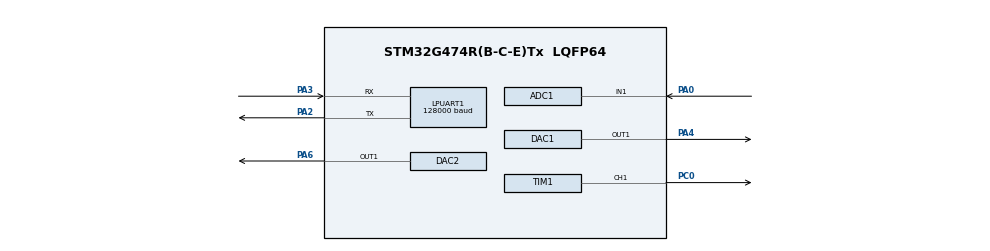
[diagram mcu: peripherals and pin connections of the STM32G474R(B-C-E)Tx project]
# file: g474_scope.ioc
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ADC1.Channel-1\#ChannelRegularConversion=ADC_CHANNEL_1
ADC1.ClockPrescaler=ADC_CLOCK_ASYNC_DIV2
ADC1.ContinuousConvMode=ENABLE
ADC1.DMAContinuousRequests=ENABLE
ADC1.EOCSelection=ADC_EOC_SEQ_CONV
ADC1.EnableRegularConversion=ENABLE
ADC1.NbrOfConversionFlag=1
ADC1.OffsetNumber-1\#ChannelRegularConversion=ADC_OFFSET_NONE
ADC1.Overrun=ADC_OVR_DATA_OVERWRITTEN
ADC1.OversamplingMode=DISABLE
ADC1.Rank-1\#ChannelRegularConversion=1
ADC1.SamplingTime-1\#ChannelRegularConversion=ADC_SAMPLETIME_24CYCLES_5
ADC1.master=1
ADC3.Channel-0\#ChannelRegularConversion=ADC_CHANNEL_VREFINT
ADC3.ClockPrescaler=ADC_CLOCK_ASYNC_DIV2
ADC3.NbrOfConversionFlag=1
ADC3.OffsetNumber-0\#ChannelRegularConversion=ADC_OFFSET_NONE
ADC3.Rank-0\#ChannelRegularConversion=1
ADC3.SamplingTime-0\#ChannelRegularConversion=ADC_SAMPLETIME_640CYCLES_5
ADC3.master=1
DAC1.DAC_HighFrequency_OUT1-DAC_OUT1=DAC_HIGH_FREQUENCY_INTERFACE_MODE_DISABLE
DAC1.DAC_OutputBuffer-DAC_OUT1=DAC_OUTPUTBUFFER_ENABLE
DAC1.DAC_Trigger_OUT1-DAC_OUT1=DAC_TRIGGER_T6_TRGO
DAC1.DAC_UserTrimming-DAC_OUT1=DAC_TRIMMING_FACTORY
DAC2.DAC_Trigger_OUT1-DAC_OUT1=DAC_TRIGGER_T7_TRGO
Dma.ADC1.0.Direction=DMA_PERIPH_TO_MEMORY
Dma.ADC1.0.EventEnable=DISABLE
Dma.ADC1.0.Instance=DMA1_Channel2
Dma.ADC1.0.MemDataAlignment=DMA_MDATAALIGN_HALFWORD
Dma.ADC1.0.MemInc=DMA_MINC_ENABLE
Dma.ADC1.0.Mode=DMA_CIRCULAR
Dma.ADC1.0.PeriphDataAlignment=DMA_PDATAALIGN_HALFWORD
Dma.ADC1.0.PeriphInc=DMA_PINC_DISABLE
Dma.ADC1.0.Polarity=HAL_DMAMUX_REQ_GEN_RISING
Dma.ADC1.0.Priority=DMA_PRIORITY_LOW
Dma.ADC1.0.RequestNumber=1
Dma.ADC1.0.SignalID=NONE
Dma.ADC1.0.SyncEnable=DISABLE
Dma.ADC1.0.SyncPolarity=HAL_DMAMUX_SYNC_NO_EVENT
Dma.ADC1.0.SyncRequestNumber=1
Dma.ADC1.0.SyncSignalID=NONE
Dma.DAC1_CH1.2.Direction=DMA_MEMORY_TO_PERIPH
Dma.DAC1_CH1.2.EventEnable=DISABLE
Dma.DAC1_CH1.2.Instance=DMA1_Channel3
Dma.DAC1_CH1.2.MemDataAlignment=DMA_MDATAALIGN_HALFWORD
Dma.DAC1_CH1.2.MemInc=DMA_MINC_ENABLE
Dma.DAC1_CH1.2.Mode=DMA_CIRCULAR
Dma.DAC1_CH1.2.PeriphDataAlignment=DMA_PDATAALIGN_WORD
Dma.DAC1_CH1.2.PeriphInc=DMA_PINC_DISABLE
Dma.DAC1_CH1.2.Polarity=HAL_DMAMUX_REQ_GEN_RISING
Dma.DAC1_CH1.2.Priority=DMA_PRIORITY_LOW
Dma.DAC1_CH1.2.RequestNumber=1
Dma.DAC1_CH1.2.SignalID=NONE
Dma.DAC1_CH1.2.SyncEnable=DISABLE
Dma.DAC1_CH1.2.SyncPolarity=HAL_DMAMUX_SYNC_NO_EVENT
Dma.DAC1_CH1.2.SyncRequestNumber=1
Dma.DAC1_CH1.2.SyncSignalID=NONE
Dma.DAC2_CH1.3.Direction=DMA_MEMORY_TO_PERIPH
Dma.DAC2_CH1.3.EventEnable=DISABLE
Dma.DAC2_CH1.3.Instance=DMA1_Channel4
Dma.DAC2_CH1.3.MemDataAlignment=DMA_MDATAALIGN_HALFWORD
Dma.DAC2_CH1.3.MemInc=DMA_MINC_ENABLE
Dma.DAC2_CH1.3.Mode=DMA_CIRCULAR
Dma.DAC2_CH1.3.PeriphDataAlignment=DMA_PDATAALIGN_WORD
Dma.DAC2_CH1.3.PeriphInc=DMA_PINC_DISABLE
Dma.DAC2_CH1.3.Polarity=HAL_DMAMUX_REQ_GEN_RISING
Dma.DAC2_CH1.3.Priority=DMA_PRIORITY_LOW
Dma.DAC2_CH1.3.RequestNumber=1
Dma.DAC2_CH1.3.SignalID=NONE
Dma.DAC2_CH1.3.SyncEnable=DISABLE
Dma.DAC2_CH1.3.SyncPolarity=HAL_DMAMUX_SYNC_NO_EVENT
Dma.DAC2_CH1.3.SyncRequestNumber=1
Dma.DAC2_CH1.3.SyncSignalID=NONE
Dma.LPUART1_RX.4.Direction=DMA_PERIPH_TO_MEMORY
Dma.LPUART1_RX.4.EventEnable=DISABLE
Dma.LPUART1_RX.4.Instance=DMA1_Channel5
Dma.LPUART1_RX.4.MemDataAlignment=DMA_MDATAALIGN_BYTE
Dma.LPUART1_RX.4.MemInc=DMA_MINC_ENABLE
Dma.LPUART1_RX.4.Mode=DMA_NORMAL
Dma.LPUART1_RX.4.PeriphDataAlignment=DMA_PDATAALIGN_BYTE
Dma.LPUART1_RX.4.PeriphInc=DMA_PINC_DISABLE
Dma.LPUART1_RX.4.Polarity=HAL_DMAMUX_REQ_GEN_RISING
Dma.LPUART1_RX.4.Priority=DMA_PRIORITY_LOW
Dma.LPUART1_RX.4.RequestNumber=1
Dma.LPUART1_RX.4.SignalID=NONE
Dma.LPUART1_RX.4.SyncEnable=DISABLE
Dma.LPUART1_RX.4.SyncPolarity=HAL_DMAMUX_SYNC_NO_EVENT
Dma.LPUART1_RX.4.SyncRequestNumber=1
Dma.LPUART1_RX.4.SyncSignalID=NONE
Dma.LPUART1_TX.1.Direction=DMA_MEMORY_TO_PERIPH
Dma.LPUART1_TX.1.EventEnable=DISABLE
Dma.LPUART1_TX.1.Instance=DMA1_Channel1
Dma.LPUART1_TX.1.MemDataAlignment=DMA_MDATAALIGN_BYTE
Dma.LPUART1_TX.1.MemInc=DMA_MINC_ENABLE
Dma.LPUART1_TX.1.Mode=DMA_NORMAL
Dma.LPUART1_TX.1.PeriphDataAlignment=DMA_PDATAALIGN_BYTE
Dma.LPUART1_TX.1.PeriphInc=DMA_PINC_DISABLE
Dma.LPUART1_TX.1.Polarity=HAL_DMAMUX_REQ_GEN_RISING
Dma.LPUART1_TX.1.Priority=DMA_PRIORITY_LOW
Dma.LPUART1_TX.1.RequestNumber=1
Dma.LPUART1_TX.1.SignalID=NONE
Dma.LPUART1_TX.1.SyncEnable=DISABLE
Dma.LPUART1_TX.1.SyncPolarity=HAL_DMAMUX_SYNC_NO_EVENT
Dma.LPUART1_TX.1.SyncRequestNumber=1
Dma.LPUART1_TX.1.SyncSignalID=NONE
Dma.Request0=ADC1
Dma.Request1=LPUART1_TX
Dma.Request2=DAC1_CH1
Dma.Request3=DAC2_CH1
Dma.Request4=LPUART1_RX
LPUART1.BaudRate=128000
Mcu.Family=STM32G4
Mcu.Name=STM32G474R(B-C-E)Tx
Mcu.Package=LQFP64
NUCLEO-G474RE.BUTTON=1
NUCLEO-G474RE.Bsp_Common_DEMO=true
NUCLEO-G474RE.LD2=true
NUCLEO-G474RE.VCP=false
NVIC.DMA1_Channel1_IRQn=true\:0\:0\:false\:false\:true\:false\:true\:true
NVIC.DMA1_Channel2_IRQn=true\:0\:0\:false\:false\:true\:false\:true\:true
NVIC.DMA1_Channel3_IRQn=true\:0\:0\:false\:false\:true\:false\:true\:true
NVIC.DMA1_Channel4_IRQn=true\:0\:0\:false\:false\:true\:false\:true\:true
NVIC.DMA1_Channel5_IRQn=true\:0\:0\:false\:false\:true\:false\:true\:true
NVIC.EXTI15_10_IRQn=true\:0\:0\:false\:false\:true\:true\:true\:true
NVIC.LPUART1_IRQn=true\:0\:0\:false\:false\:true\:true\:true\:true
NVIC.PriorityGroup=NVIC_PRIORITYGROUP_4
NVIC.TIM6_DAC_IRQn=true\:0\:0\:false\:false\:true\:true\:true\:true
NVIC.TIM7_DAC_IRQn=true\:0\:0\:false\:false\:true\:true\:true\:true
PA0.Mode=IN1-Single-Ended
PA0.Signal=ADC1_IN1
PA13.GPIO_Label=T_SWDIO
PA13.Signal=SYS_JTMS-SWDIO
PA14.GPIO_Label=T_SWCLK
PA14.Signal=SYS_JTCK-SWCLK
PA2.Mode=Asynchronous
PA2.Signal=LPUART1_TX
PA3.Mode=Asynchronous
PA3.Signal=LPUART1_RX
PA4.Signal=COMP_DAC11_group
PA6.Signal=COMP_DAC21_group
PB3.GPIO_Label=T_SWO
PB3.Signal=SYS_JTDO-SWO
PC0.Signal=S_TIM1_CH1
PC14-OSC32_IN.GPIO_Label=RCC_OSC32_IN
PC14-OSC32_IN.Signal=RCC_OSC32_IN
PC15-OSC32_OUT.GPIO_Label=RCC_OSC32_OUT
PC15-OSC32_OUT.Signal=RCC_OSC32_OUT
PF0-OSC_IN.GPIO_Label=RCC_OSC_IN
PF0-OSC_IN.Mode=HSE-External-Oscillator
PF0-OSC_IN.Signal=RCC_OSC_IN
PF1-OSC_OUT.GPIO_Label=RCC_OSC_OUT
PF1-OSC_OUT.Mode=HSE-External-Oscillator
PF1-OSC_OUT.Signal=RCC_OSC_OUT
ProjectManager.HeapSize=0x200
ProjectManager.StackSize=0x400
ProjectManager.TargetToolchain=STM32CubeIDE
RCC.ADC12CLockSelection=RCC_ADC12CLKSOURCE_PLL
RCC.ADC12Freq_Value=60000000
RCC.ADC345Freq_Value=120000000
RCC.AHBFreq_Value=120000000
RCC.APB1Freq_Value=120000000
RCC.APB1TimFreq_Value=120000000
RCC.APB2Freq_Value=120000000
RCC.APB2TimFreq_Value=120000000
RCC.CortexFreq_Value=120000000
RCC.EXTERNAL_CLOCK_VALUE=12288000
RCC.HCLKFreq_Value=120000000
RCC.HSE_VALUE=24000000
RCC.HSI48_VALUE=48000000
RCC.HSI_VALUE=16000000
RCC.LSE_VALUE=32768
RCC.PLLN=15
RCC.PLLP=RCC_PLLP_DIV4
RCC.RTCClockSelection=RCC_RTCCLKSOURCE_LSE
RCC.SYSCLKFreq_VALUE=120000000
RCC.SYSCLKSource=RCC_SYSCLKSOURCE_PLLCLK
RCC.USBFreq_Value=120000000
RCC.VCOOutputFreq_Value=240000000
SH.COMP_DAC11_group.0=DAC1_OUT1,DAC_OUT1
SH.COMP_DAC21_group.0=DAC2_OUT1,DAC_OUT1
SH.S_TIM1_CH1.0=TIM1_CH1,PWM Generation1 CH1
TIM1.AutoReloadPreload=TIM_AUTORELOAD_PRELOAD_DISABLE
TIM1.Channel-PWM\ Generation1\ CH1=TIM_CHANNEL_1
TIM1.OC1Preload_PWM=DISABLE
TIM1.PeriodNoDither=10000-1
TIM1.Prescaler=12-1
TIM1.PulseNoDither_1=5000
TIM6.PeriodNoDither=5-1
TIM6.Prescaler=12-1
TIM6.TIM_MasterOutputTrigger=TIM_TRGO_UPDATE
TIM7.PeriodNoDither=5-1
TIM7.Prescaler=12-1
TIM7.TIM_MasterOutputTrigger=TIM_TRGO_UPDATE
VP_ADC3_Vref_Input.Mode=IN-Vrefint
VP_NUCLEO-G474RE_VS_BSP_COMMON.Mode=COMMON
VP_SYS_VS_DBSignals.Mode=DisableDeadBatterySignals
VP_TIM1_VS_ClockSourceINT.Mode=Internal
VP_TIM6_VS_ClockSourceINT.Mode=Enable_Timer
VP_TIM7_VS_ClockSourceINT.Mode=Enable_Timer
board=NUCLEO-G474RE

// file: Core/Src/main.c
/* USER CODE BEGIN Header */
/**
 ******************************************************************************
 * @file           : main.c
 * @brief          : Main program body
 ******************************************************************************
 * @attention
 *
 * Copyright (c) 2024 STMicroelectronics.
 * All rights reserved.
 *
 * This software is licensed under terms that can be found in the LICENSE file
 * in the root directory of this software component.
 * If no LICENSE file comes with this software, it is provided AS-IS.
 *
 ******************************************************************************
 */
/* USER CODE END Header */
#include "main.h"
#include "adc.h"
#include "dac.h"
#include "dma.h"
#include "usart.h"
#include "tim.h"
#include "gpio.h"

/* USER CODE BEGIN Includes */
#include "../Scope/scope.h"
#include "../Scope/siggen.h"

#define USE_FULL_ASSERT
#include <assert.h>

#include <math.h>
#include <string.h>

#include "stm32g4xx_ll_dac.h"
#include "stm32g4xx_ll_dma.h"
#include "stm32g4xx_ll_rcc.h"
#include "stm32g4xx_ll_bus.h"
#include "stm32g4xx_ll_crs.h"
#include "stm32g4xx_ll_system.h"
#include "stm32g4xx_ll_exti.h"
#include "stm32g4xx_ll_cortex.h"
#include "stm32g4xx_ll_utils.h"
#include "stm32g4xx_ll_pwr.h"
#include "stm32g4xx_ll_tim.h"
#include "stm32g4xx_ll_gpio.h"
/* USER CODE END Includes */

__IO uint32_t BspButtonState = BUTTON_RELEASED;

void
SystemClock_Config (void);

/* USER CODE BEGIN 0 */
#define CMD_RX_BUFFER_SIZE 1
uint8_t cmd_rx_buffer[CMD_RX_BUFFER_SIZE + 1];

#define SCOPE_PWM_ARR_START_VALUE 10000
#define SCOPE_PWM_FREQ_DIV 1

int arrStart = SCOPE_PWM_ARR_START_VALUE;
int freq_div = SCOPE_PWM_FREQ_DIV;

void
PWM_Next_Frequency ()
{
    freq_div *= 10;

    if (freq_div >= SCOPE_PWM_ARR_START_VALUE / 10)
    {
        arrStart = SCOPE_PWM_ARR_START_VALUE;
        freq_div = SCOPE_PWM_FREQ_DIV;
    }

    TIM1->ARR = arrStart / freq_div - 1;
    TIM1->CCR1 = arrStart / freq_div / 2;
}

/* USER CODE END 0 */

int
main (void)
{

    /* MCU Configuration--------------------------------------------------------*/

    /* Reset of all peripherals, Initializes the Flash interface and the Systick. */
    HAL_Init ();

    /* Configure the system clock */
    SystemClock_Config ();

    /* Initialize all configured peripherals */
    MX_GPIO_Init ();
    MX_DMA_Init ();
    MX_ADC3_Init ();
    MX_ADC1_Init ();
    MX_LPUART1_UART_Init ();
    MX_TIM1_Init ();
    MX_DAC1_Init ();
    MX_TIM6_Init ();
    MX_DAC2_Init ();
    MX_TIM7_Init ();

    /* Initialize led */
    BSP_LED_Init (LED_GREEN);

    /* Initialize USER push-button, will be used to trigger an interrupt each time it's pressed.*/
    BSP_PB_Init (BUTTON_USER, BUTTON_MODE_EXTI);

    /* USER CODE BEGIN BSP */

    /* -- Sample board code to send message over COM1 port ---- */

    /* -- Sample board code to switch on led ---- */
    BSP_LED_On (LED_GREEN);

    /* USER CODE END BSP */

    /* Infinite loop */
    /* USER CODE BEGIN WHILE */

    // Start analog signal generators
    SigGen_Sinus_DAC1 ();
    SigGen_Sinus_DAC2 ();

    // Start digital signal generator
    HAL_TIM_PWM_Start (&htim1, TIM_CHANNEL_1);

    // Start oscilloscope - start continuous ADC sampling
    Scope_Run ();

    HAL_UART_Receive_IT (&hlpuart1, cmd_rx_buffer, CMD_RX_BUFFER_SIZE);

    while (1)
    {
        /* USER CODE END WHILE */

        /* USER CODE BEGIN 3 */
        if (BspButtonState == BUTTON_PRESSED)
        {
            BspButtonState = BUTTON_RELEASED;
            BSP_LED_Toggle (LED_GREEN);
            HAL_Delay (30);
            PWM_Next_Frequency ();
            //HAL_UART_Transmit(&hlpuart1, "Hello\r\n", 7, 10);
        }

        Scope_TransmitFrame ();

    }
    /* USER CODE END 3 */
}

void
SystemClock_Config (void)
{
    RCC_OscInitTypeDef RCC_OscInitStruct =
    { 0 };
    RCC_ClkInitTypeDef RCC_ClkInitStruct =
    { 0 };

    /** Configure the main internal regulator output voltage
     */
    HAL_PWREx_ControlVoltageScaling (PWR_REGULATOR_VOLTAGE_SCALE1);

    /** Initializes the RCC Oscillators according to the specified parameters
     * in the RCC_OscInitTypeDef structure.
     */
    RCC_OscInitStruct.OscillatorType = RCC_OSCILLATORTYPE_HSI;
    RCC_OscInitStruct.HSIState = RCC_HSI_ON;
    RCC_OscInitStruct.HSICalibrationValue = RCC_HSICALIBRATION_DEFAULT;
    RCC_OscInitStruct.PLL.PLLState = RCC_PLL_ON;
    RCC_OscInitStruct.PLL.PLLSource = RCC_PLLSOURCE_HSI;
    RCC_OscInitStruct.PLL.PLLM = RCC_PLLM_DIV1;
    RCC_OscInitStruct.PLL.PLLN = 15;
    RCC_OscInitStruct.PLL.PLLP = RCC_PLLP_DIV4;
    RCC_OscInitStruct.PLL.PLLQ = RCC_PLLQ_DIV2;
    RCC_OscInitStruct.PLL.PLLR = RCC_PLLR_DIV2;
    if (HAL_RCC_OscConfig (&RCC_OscInitStruct) != HAL_OK)
    {
        Error_Handler ();
    }

    /** Initializes the CPU, AHB and APB buses clocks
     */
    RCC_ClkInitStruct.ClockType = RCC_CLOCKTYPE_HCLK | RCC_CLOCKTYPE_SYSCLK
                    | RCC_CLOCKTYPE_PCLK1 | RCC_CLOCKTYPE_PCLK2;
    RCC_ClkInitStruct.SYSCLKSource = RCC_SYSCLKSOURCE_PLLCLK;
    RCC_ClkInitStruct.AHBCLKDivider = RCC_SYSCLK_DIV1;
    RCC_ClkInitStruct.APB1CLKDivider = RCC_HCLK_DIV1;
    RCC_ClkInitStruct.APB2CLKDivider = RCC_HCLK_DIV1;

    if (HAL_RCC_ClockConfig (&RCC_ClkInitStruct, FLASH_LATENCY_3) != HAL_OK)
    {
        Error_Handler ();
    }
}

/* USER CODE BEGIN 4 */
void
HAL_UART_RxCpltCallback (UART_HandleTypeDef *huart)
{
    if (huart == &hlpuart1)
    {
        BSP_LED_Toggle (LED_GREEN);
        Scope_OnCommandReceived (cmd_rx_buffer[0]);
        memset (cmd_rx_buffer, (uint8_t) 0, CMD_RX_BUFFER_SIZE);
        HAL_UART_Receive_IT (&hlpuart1, cmd_rx_buffer, CMD_RX_BUFFER_SIZE);
    }
}
/* USER CODE END 4 */

/**
 * @brief BSP Push Button callback
 * @param Button Specifies the pressed button
 * @retval None
 */
void
BSP_PB_Callback (Button_TypeDef Button)
{
    if (Button == BUTTON_USER)
    {
        BspButtonState = BUTTON_PRESSED;
    }
}

void
Error_Handler (void)
{
    /* USER CODE BEGIN Error_Handler_Debug */
    /* User can add his own implementation to report the HAL error return state */
    __disable_irq ();
    while (1)
    {
    }
    /* USER CODE END Error_Handler_Debug */
}
